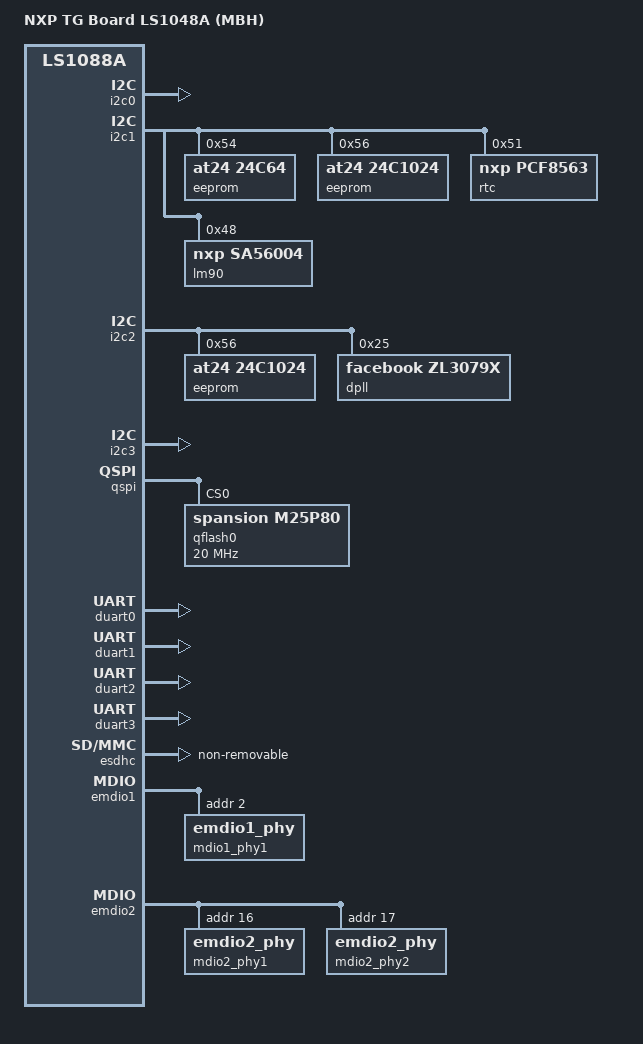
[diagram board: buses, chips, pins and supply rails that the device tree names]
/*
 * Device Tree file for FB LS1048A MBH Board.
 */

/dts-v1/;

#include <dt-bindings/gpio/gpio.h>
#include "fsl-ls1048a.dtsi"

/ {
	model = "NXP TG Board LS1048A (MBH)";
	compatible = "fsl,ls1088a-rdb", "fsl,ls1088a";

	chosen {
		bootargs = "iommu.passthrough=1 default_hugepagesz=2m hugepagesz=2m hugepages=512 pcie_aspm=off cma=512M crashkernel=32M@3G isolcpus=2,3 firmware_class.path=/data/firmware/wil6210 ";
		eeprom = "/sys/bus/nvmem/devices/1-00540/nvmem" ;
		bb2_eeprom = "/sys/bus/i2c/devices/2-0056/eeprom";
		bb4_eeprom = "/sys/bus/i2c/devices/1-0056/eeprom";
		wlan0_eeprom = "/sys/bus/i2c/devices/2-0056/eeprom";
		wlan1_eeprom = "/sys/bus/i2c/devices/1-0056/eeprom";
		wlan0_pci = "0000:01:00.0";
		wlan1_pci = "0001:01:00.0";
	};
};

&i2c0 {
	status = "okay";
};

&i2c1 {
	status = "okay";

	eeprom@54 {
		compatible = "at24,24c64";
		reg = <0x54>;
		pagesize = <32>;
	};

	eeprom@56 {
		compatible = "at24,24c1024";
		reg = <0x56>;
		pagesize = <256>;
	};

	rtc@51 {
		compatible = "nxp,pcf8563";
		reg = <0x51>;
	};

	lm90: lm90@48 {
		compatible = "nxp,sa56004";
		reg = <0x48>;
	};

};

&i2c2 {
	status = "okay";

	eeprom@56 {
		compatible = "at24,24c1024";
		reg = <0x56>;
		pagesize = <256>;
	};

	dpll@25 {
		compatible = "facebook,zl3079x";
		reg = <0x25>;
	};
};

&i2c3 {
	status = "okay";
};

&qspi {
	status = "okay";
	qflash0: s25fs512s@0 {
		compatible = "spansion,m25p80";
		#address-cells = <1>;
		#size-cells = <1>;
		spi-max-frequency = <20000000>;
		spi-rx-bus-width = <1>;
		spi-tx-bus-width = <1>;
		reg = <0>;
	};
};

&ifc {
	status = "disabled";
};

&duart0 {
	status = "okay";
};

&duart1 {
	status = "okay";
};

&duart2 {
	status = "okay";
};

&duart3 {
	status = "okay";
};

&esdhc {
	status = "okay";
	non-removable;
};

&emdio1 {
	/* RealTek RTL8211FSI PHY
	 * PHY_AD[2:0] = 010: PHY Addr = 0b00010
	 * CFG_MODE[2:0]=011: SGMII <=> UTP
	 * CFG_LDO[1:0] = 10 : RGMII IO LDO voltage selection (1.8V)
	 * RXDLY = 0: No Delay
	 */
	mdio1_phy1: emdio1_phy@1 {
		reg = <0x2>;
		phy-connection-type = "sgmii";
	};
};

/* DPMAC connections to external PHYs
 * based on LS1088A RM RevC - $24.1.2 SerDes Options
 */

 /* dpmac 3 is SGMII */
&dpmac3 {
	phy-handle = <&mdio1_phy1>;
};

&emdio2 {
	/* Microsemi VSC8254 PHY
	 * PHY_AD = 0x10
	 */
	mdio2_phy1: emdio2_phy@1 {
		reg = <0x10>;
		phy-connection-type = "xfi";
		phy-type = "vsc8254_xfi_phy";
	};

	/* Microsemi VSC8254 PHY
	 * PHY_AD = 0x11
	 */
	mdio2_phy2: emdio2_phy@2 {
		reg = <0x11>;
		phy-connection-type = "xfi";
		phy-type = "vsc8254_xfi_phy";
	};
};

/* dpmac 1 is SFP 1 */
&dpmac1 {
	phy-handle = <&mdio2_phy1>;
};
 /* dpmac 2 is SFP 2 */
&dpmac2 {
	phy-handle = <&mdio2_phy2>;
};
